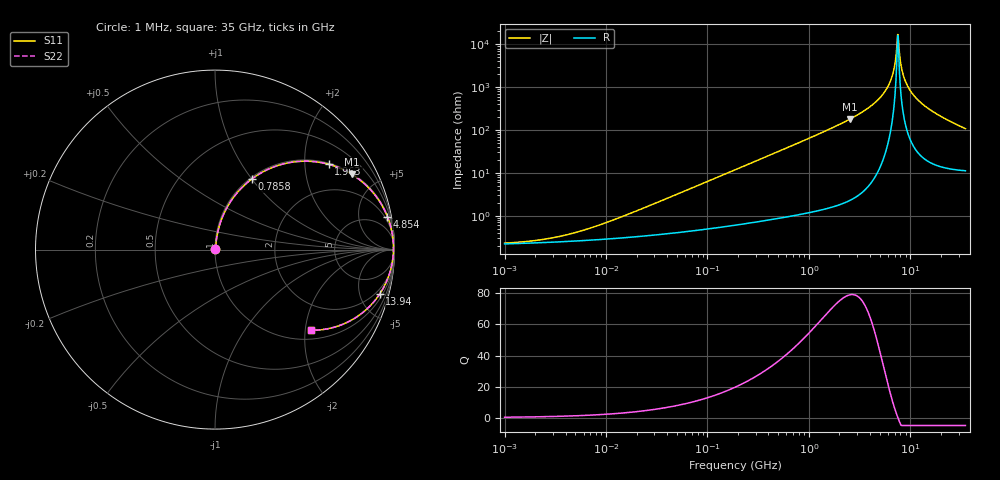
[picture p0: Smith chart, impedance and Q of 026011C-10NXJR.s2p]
# MHz  S  MA  R  50
!Freq  MagS11  AngS11  MagS21  AngS21  MagS12  AngS12  MagS22  AngS22
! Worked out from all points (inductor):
!   1053 points, 1 MHz to 35 GHz, reference 50 ohm
!   read as one part in series: L = 10 nH near 14.54 MHz
!   highest Q = 79.1 at 2.542 GHz (marker M1), where L = 11.3 nH
!   self-resonance near 7.521 GHz
!   S11 on the Smith chart (normalised r, x): 1 MHz: 1.00, +0.00; 785.8 MHz: 1.02, +1.00; 1.963 GHz: 1.04, +2.65; 4.854 GHz: 1, +10; 13.94 GHz: 1.42, -7.27; 35 GHz: 1.22, -2.15
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1  0.002283 15.9  0.9978 -0.0  0.9978 -0.0  0.002283 15.9
2.548057  0.002861 33.8  0.9976 -0.1  0.9976 -0.1  0.002861 33.8
5.761848  0.004457 53.9  0.9974 -0.2  0.9974 -0.2  0.004457 53.9
32.87019  0.02089 78.9  0.9962 -1.2  0.9962 -1.2  0.02089 78.9
187.5178  0.1165 80.4  0.9873 -6.7  0.9873 -6.7  0.1165 80.4
432.5517  0.2612 73.1  0.9575 -15.1  0.9575 -15.1  0.2612 73.1
785.8152  0.443 62.5  0.8873 -26.3  0.8873 -26.3  0.443 62.5
1080.449  0.565 54.6  0.8152 -34.4  0.8152 -34.4  0.565 54.6
1962.849  0.7926 36.8  0.5992 -52.4  0.5992 -52.4  0.7926 36.8
2542.392  0.8697 28.9  0.4827 -60.4  0.4827 -60.4  0.8697 28.9
4854.358  0.9781 10.8  0.1883 -77.9  0.1883 -77.9  0.9781 10.8
6163.747  0.9918 4.9  0.08571 -82.1  0.08571 -82.1  0.9918 4.9
6741.199  0.994 2.7  0.04805 -81.4  0.04805 -81.4  0.994 2.7
7299.753  0.9946 0.8  0.01534 -68.8  0.01534 -68.8  0.9946 0.8
7596.152  0.9944 -0.1  0.006055 22.1  0.006055 22.1  0.9944 -0.1
7826.323  0.9941 -0.8  0.0159 67.6  0.0159 67.6  0.9941 -0.8
8390.878  0.9926 -2.5  0.04442 79.2  0.04442 79.2  0.9926 -2.5
9268.749  0.9889 -4.9  0.08605 80.1  0.08605 80.1  0.9889 -4.9
10977.02  0.9777 -9.1  0.1577 77.4  0.1577 77.4  0.9777 -9.1
13937.9  0.9506 -15.1  0.2609 71.6  0.2609 71.6  0.9506 -15.1
21168.75  0.8653 -26.4  0.4452 59.7  0.4452 59.7  0.8653 -26.4
35000  0.6983 -40.0  0.6469 44.0  0.6469 44.0  0.6983 -40.0
